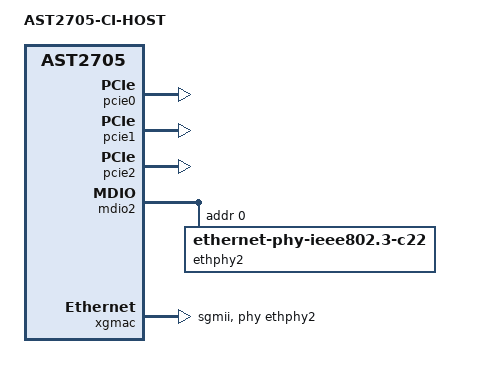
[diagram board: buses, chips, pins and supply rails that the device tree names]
// SPDX-License-Identifier: GPL-2.0-or-later

/dts-v1/;

#include "ast2705-evb.dts"

/ {
	model = "AST2705-CI-HOST";
};

&bmc_dev0 {
	status = "disabled";
};

&xdma0 {
	status = "disabled";
};

&pcie_vuart0 {
	status = "disabled";
};

&pcie_vuart1 {
	status = "disabled";
};

&pcie_lpc0_kcs0 {
	status = "disabled";
};

&pcie_lpc0_kcs1 {
	status = "disabled";
};

&pcie_lpc0_kcs2 {
	status = "disabled";
};

&pcie_lpc0_kcs3 {
	status = "disabled";
};

&pcie_lpc0_ibt {
	status = "disabled";
};

&pcie0_mmbi0 {
	status = "disabled";
};

&pcie0 {
	status = "okay";
};

&bmc_dev1 {
	status = "disabled";
};

&xdma1 {
	status = "disabled";
};

&pcie_vuart2 {
	status = "disabled";
};

&pcie_vuart3 {
	status = "disabled";
};

&pcie_lpc1_kcs0 {
	status = "disabled";
};

&pcie_lpc1_kcs1 {
	status = "disabled";
};

&pcie_lpc1_kcs2 {
	status = "disabled";
};

&pcie_lpc1_kcs3 {
	status = "disabled";
};

&pcie_lpc1_ibt {
	status = "disabled";
};

&pcie1_mmbi4 {
	status = "disabled";
};

&pcie1 {
	status = "okay";
};

&pcie2 {
	status = "okay";
};

&mdio0 {
	status = "disabled";
};

&mdio1 {
	status = "disabled";
};

&sgpios {
	status = "disabled";
};

&mctp0 {
	pcie_rc;
};

&mctp1 {
	pcie_rc;
};

&mdio2 {
	status = "okay";
	#address-cells = <1>;
	#size-cells = <0>;

	ethphy2: ethernet-phy@0 {
		compatible = "ethernet-phy-ieee802.3-c22";
		reg = <0>;
	};
};

&xgmac {
	status = "okay";

	phy-mode = "sgmii";
	phy-handle = <&ethphy2>;
};
